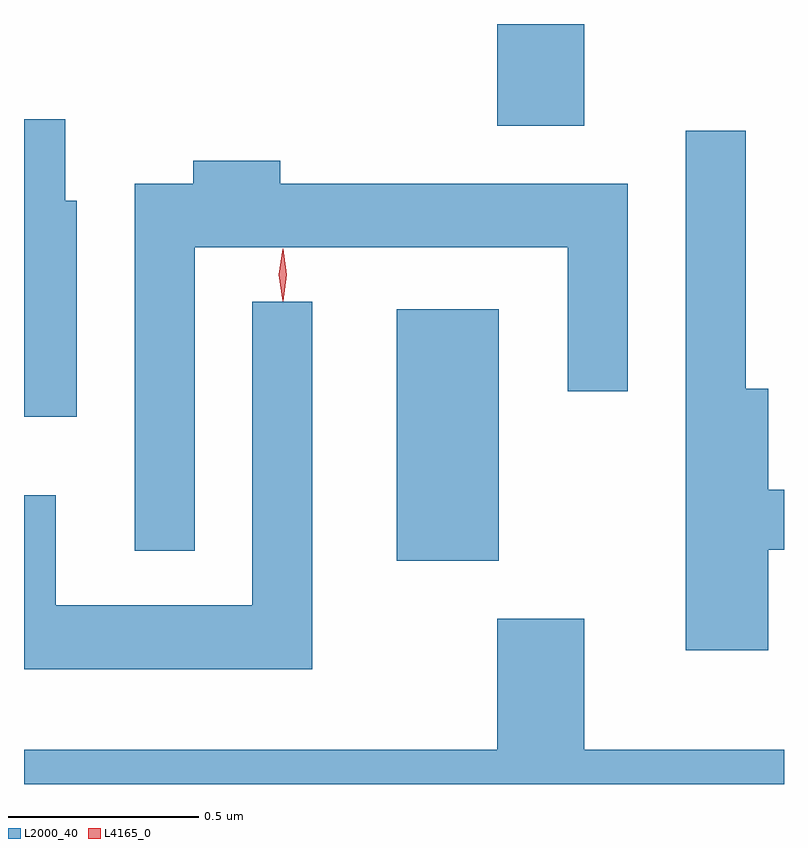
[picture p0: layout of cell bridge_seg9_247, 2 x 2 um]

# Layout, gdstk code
import gdstk
lib = gdstk.Library(unit=1e-6, precision=1e-09)
def R(c, l, rs):  # rectangles x0, y0, x1, y1
    for r in rs: c.add(gdstk.rectangle(r[:2], r[2:], *l))
def P(c, l, *ps):  # polygons
    for p in ps: c.add(gdstk.Polygon(p, *l))
L2000_40 = (2000, 40)
L4165_0 = (4165, 0)

bridge_seg9_247 = lib.new_cell('bridge_seg9_247')
R(bridge_seg9_247, L2000_40, [(1469.926,1945.961,1470.194,1946.624), (1470.191,1947.106,1470.419,1947.374)])
P(bridge_seg9_247, L2000_40, [(1469.084,1946.909),(1469.054,1946.909),(1469.054,1947.124),(1468.945,1947.124),(1468.945,1946.341),(1469.084,1946.341)],
  [(1470.904,1945.991),(1470.945,1945.991),(1470.945,1946.149),(1470.904,1946.149),(1470.904,1946.414),(1470.844,1946.414),(1470.844,1947.093),(1470.686,1947.093),(1470.686,1945.726),(1470.904,1945.726)],
  [(1469.394,1946.786),(1470.376,1946.786),(1470.376,1946.408),(1470.534,1946.408),(1470.534,1946.954),(1469.619,1946.954),(1469.619,1947.014),(1469.391,1947.014),(1469.391,1946.954),(1469.236,1946.954),(1469.236,1945.988),(1469.394,1945.988)],
  [(1469.704,1946.643),(1469.546,1946.643),(1469.546,1945.844),(1469.029,1945.844),(1469.029,1946.134),(1468.945,1946.134),(1468.945,1945.676),(1469.704,1945.676)],
  [(1470.945,1945.464),(1470.419,1945.464),(1470.419,1945.809),(1470.191,1945.809),(1470.191,1945.464),(1468.945,1945.464),(1468.945,1945.374),(1470.945,1945.374)])
P(bridge_seg9_247, L4165_0, [(1469.626,1946.644),(1469.626,1946.645),(1469.616,1946.714),(1469.626,1946.782),(1469.626,1946.783),(1469.627,1946.782),(1469.636,1946.714),(1469.627,1946.645)],
  [(1469.626,1946.648),(1469.626,1946.648),(1469.616,1946.714),(1469.626,1946.78),(1469.626,1946.781),(1469.627,1946.78),(1469.636,1946.714),(1469.627,1946.648)])

lib.write_gds('bridge_seg9_247.gds')
